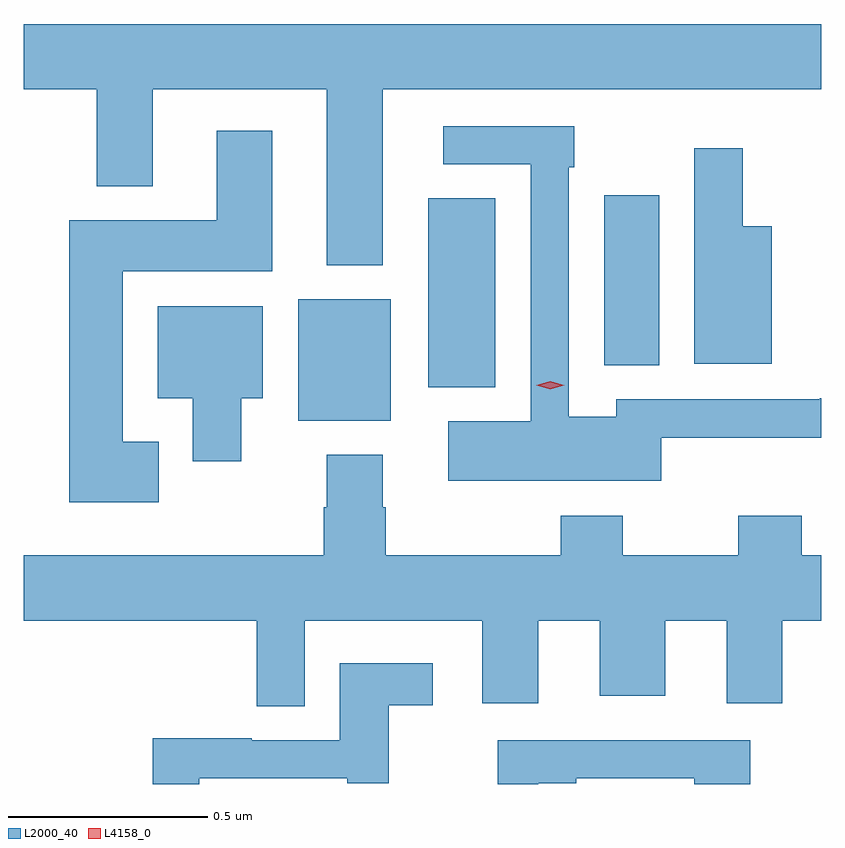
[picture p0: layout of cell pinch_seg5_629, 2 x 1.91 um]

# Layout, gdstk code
import gdstk
lib = gdstk.Library(unit=1e-6, precision=1e-09)
def R(c, l, rs):  # rectangles x0, y0, x1, y1
    for r in rs: c.add(gdstk.rectangle(r[:2], r[2:], *l))
def P(c, l, *ps):  # polygons
    for p in ps: c.add(gdstk.Polygon(p, *l))
L2000_40 = (2000, 40)
L4158_0 = (4158, 0)

pinch_seg5_629 = lib.new_cell('pinch_seg5_629')
R(pinch_seg5_629, L2000_40, [(1017.071,854.597,1017.304,854.902), (1017.398,854.681,1017.565,855.155), (1017.839,854.737,1017.976,855.163)])
P(pinch_seg5_629, L2000_40, [(1017.283,855.428),(1018.383,855.428),(1018.383,855.592),(1016.383,855.592),(1016.383,855.428),(1016.567,855.428),(1016.567,855.185),(1016.707,855.185),(1016.707,855.428),(1017.143,855.428),(1017.143,854.987),(1017.283,854.987)],
  [(1017.982,854.555),(1018.383,854.555),(1018.383,854.654),(1018.379,854.654),(1018.379,854.652),(1017.869,854.652),(1017.869,854.608),(1017.75,854.608),(1017.75,855.233),(1017.763,855.233),(1017.763,855.336),(1017.435,855.336),(1017.435,855.24),(1017.654,855.24),(1017.654,854.596),(1017.447,854.596),(1017.447,854.447),(1017.982,854.447)],
  [(1016.722,854.545),(1016.632,854.545),(1016.632,854.972),(1017.007,854.972),(1017.007,855.325),(1016.867,855.325),(1016.867,855.1),(1016.498,855.1),(1016.498,854.393),(1016.722,854.393)],
  [(1018.258,855.085),(1018.186,855.085),(1018.186,855.28),(1018.064,855.28),(1018.064,854.741),(1018.258,854.741)],
  [(1016.929,854.654),(1016.983,854.654),(1016.983,854.884),(1016.72,854.884),(1016.72,854.654),(1016.807,854.654),(1016.807,854.496),(1016.929,854.496)],
  [(1017.088,854.096),(1017.533,854.096),(1017.533,853.89),(1017.673,853.89),(1017.673,854.096),(1017.827,854.096),(1017.827,853.908),(1017.991,853.908),(1017.991,854.096),(1018.145,854.096),(1018.145,853.89),(1018.285,853.89),(1018.285,854.096),(1018.383,854.096),(1018.383,854.26),(1018.334,854.26),(1018.334,854.359),(1018.174,854.359),(1018.174,854.26),(1017.885,854.26),(1017.885,854.359),(1017.73,854.359),(1017.73,854.26),(1017.291,854.26),(1017.291,854.381),(1017.283,854.381),(1017.283,854.512),(1017.143,854.512),(1017.143,854.381),(1017.136,854.381),(1017.136,854.26),(1016.383,854.26),(1016.383,854.096),(1016.967,854.096),(1016.967,853.882),(1017.088,853.882)],
  [(1016.823,853.701),(1017.194,853.701),(1017.194,853.689),(1017.298,853.689),(1017.298,853.884),(1017.409,853.884),(1017.409,853.99),(1017.176,853.99),(1017.176,853.797),(1016.955,853.797),(1016.955,853.802),(1016.707,853.802),(1016.707,853.687),(1016.823,853.687)],
  [(1017.673,853.689),(1017.769,853.689),(1017.769,853.701),(1018.064,853.701),(1018.064,853.687),(1018.204,853.687),(1018.204,853.797),(1017.571,853.797),(1017.571,853.687),(1017.673,853.687)])
P(pinch_seg5_629, L4158_0, [(1017.703,854.676),(1017.668,854.686),(1017.668,854.686),(1017.668,854.687),(1017.703,854.696),(1017.738,854.687),(1017.738,854.686),(1017.738,854.686)])

lib.write_gds('pinch_seg5_629.gds')
